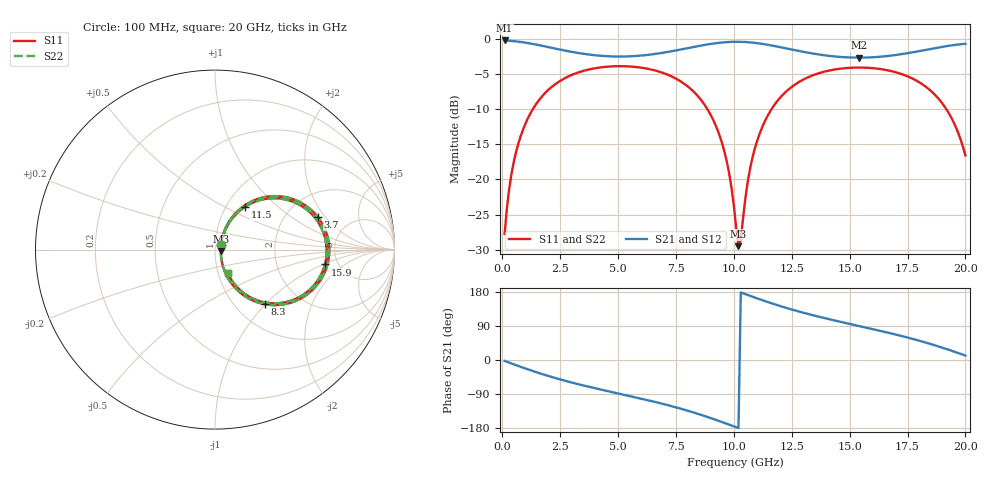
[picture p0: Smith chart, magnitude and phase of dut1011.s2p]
! Touchstone file exported from HFSS 2026.1.0
!  File:  C:/ffzhzh/LocalFiles/Ansys_Project_Files/temp_train_TSV_RDL_1011_1783291512_38820.aedt
!  Generated:  06:58:19 AM Jul  6, 2026
!  Design:  TSV_RDL
!  Project:  temp_train_TSV_RDL_1011_1783291512_38820
! Variables:
!  h_bsmrdl = 3.89um
!  h_ox = 20um
!  h_rdl = 5um
!  h_sub = 67.22um
!  h_tmrdl = 3.54um
!  h_tsv = 67.22um
!  h_via = 3um
!  l_bsmrdl = 581.63um
!  l_sub = 6120.43um
!  l_tmrdl = 967.98um
!  m_sub = 200um
!  pitch = 57.99um
!  r_tsv = 10.77um
!  s_tmrdl = 10um
!  w_bsmrdl = 12.34um
!  w_sub = 500um
!  w_tmrdl = 22.2um
!  x_tsv_center1 = 979.08um
!  x_tsv_center2 = 1573.05um
!  x_tsv_center3 = 2563.23um
!  x_tsv_center4 = 3157.2um
!  x_tsv_center5 = 4147.38um
!  x_tsv_center6 = 4741.35um
# GHz S MA R 50.000000
! Terminal data exported
! Port[1] = TM_RDL1_1_T1
! Port[2] = TM_RDL5_1_T1
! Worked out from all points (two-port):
!   200 points, 100 MHz to 20 GHz, reference 50 ohm
!   highest |S21| = -0.27 dB at 100 MHz (marker M1); lowest = -2.7 dB at 15.4 GHz (marker M2)
!   |S21| within 3 dB of the highest: start of sweep to end of sweep
!   lowest |S11| = -29.5 dB at 10.2 GHz (marker M3), VSWR 1.07, Z = 53.4 - j0.826 ohm
!   |S11| at or under -10 dB: start of sweep to 1.326 GHz; 8.851 GHz to 11.63 GHz (2.784 GHz wide, 27.2 % of centre); 19.17 GHz to end of sweep
!   |S22| runs from -29.6 to -3.9 dB; largest |S21 - S12| = 1.6e-14
!   S11 on the Smith chart (normalised r, x): 100 MHz: 1.06, +0.06; 3.7 GHz: 2.97, +1.68; 8.3 GHz: 1.36, -1.00; 11.5 GHz: 1.22, +0.63; 15.9 GHz: 3.94, -1.05; 20 GHz: 1.11, -0.30
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0.1  0.04093 39.4  0.9691 -2.4  0.9691 -2.4  0.04093 39.4
! Gamma 0 0 0 0
! Port Impedance 50 0 50 0
0.3  0.08599 60.9  0.9645 -7.0  0.9645 -7.0  0.08599 60.9
0.5  0.1339 63.9  0.958 -11.5  0.958 -11.5  0.1339 63.9
1.1  0.2702 58.1  0.9289 -24.6  0.9289 -24.6  0.2702 58.1
2.2  0.4625 40.0  0.8547 -46.0  0.8547 -46.0  0.4625 40.0
3.5  0.5892 20.3  0.7793 -67.1  0.7793 -67.1  0.5892 20.3
3.7  0.6008 17.5  0.7712 -70.1  0.7712 -70.1  0.6008 17.5
5.3  0.6357 -3.7  0.7457 -92.3  0.7457 -92.3  0.6357 -3.7
6.8  0.5803 -24.1  0.7858 -113.7  0.7858 -113.7  0.5803 -24.1
8.3  0.4137 -47.5  0.8737 -139.2  0.8737 -139.2  0.4137 -47.5
9.5  0.1786 -65.4  0.9377 -163.9  0.9377 -163.9  0.1786 -65.5
9.8  0.1097 -65.1  0.9455 -170.6  0.9455 -170.6  0.1096 -65.2
10.1  0.04553 -43.0  0.9484 -177.3  0.9484 -177.3  0.04529 -43.3
10.2  0.03352 -13.3  0.9483 -179.5  0.9483 -179.5  0.03318 -13.5
10.8  0.1414 62.4  0.9358 167.1  0.9358 167.1  0.1414 62.6
11.5  0.2907 55.0  0.901 152.2  0.901 152.2  0.2906 55.1
13.4  0.5475 25.4  0.7831 118.4  0.7831 118.4  0.5474 25.4
15.4  0.6224 -1.3  0.7317 89.8  0.7317 89.8  0.6223 -1.2
15.9  0.618 -7.7  0.7349 82.9  0.7349 82.9  0.618 -7.6
16.7  0.592 -18.2  0.7533 71.5  0.7533 71.5  0.592 -18.2
18.8  0.3802 -49.1  0.8614 36.5  0.8614 36.5  0.3802 -49.0
20  0.1479 -61.4  0.9173 11.8  0.9173 11.8  0.1479 -61.4
